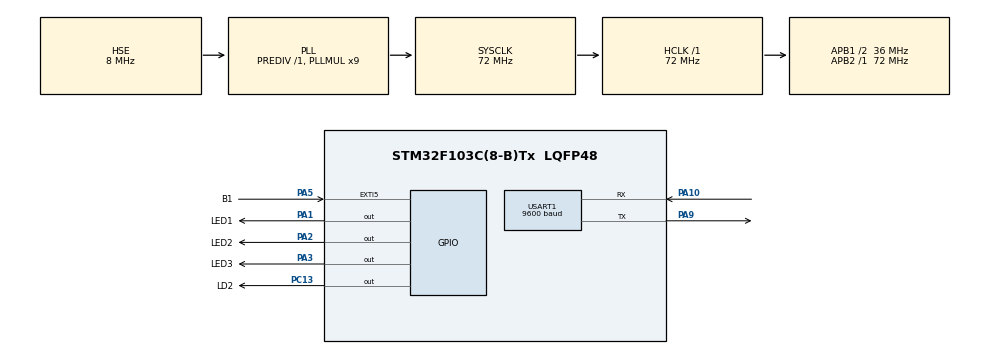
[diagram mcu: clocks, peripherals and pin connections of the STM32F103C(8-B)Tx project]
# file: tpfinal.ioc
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Mcu.Family=STM32F1
Mcu.Name=STM32F103C(8-B)Tx
Mcu.Package=LQFP48
NVIC.EXTI9_5_IRQn=true\:0\:0\:false\:false\:true\:true\:true\:true
NVIC.PriorityGroup=NVIC_PRIORITYGROUP_4
NVIC.USART1_IRQn=true\:0\:0\:false\:false\:true\:true\:true\:true
PA1.GPIO_Label=LED1
PA1.Signal=GPIO_Output
PA10.Mode=Asynchronous
PA10.Signal=USART1_RX
PA13.Mode=Serial_Wire
PA13.Signal=SYS_JTMS-SWDIO
PA14.Mode=Serial_Wire
PA14.Signal=SYS_JTCK-SWCLK
PA2.GPIO_Label=LED2
PA2.Signal=GPIO_Output
PA3.GPIO_Label=LED3
PA3.Signal=GPIO_Output
PA5.GPIO_Label=B1
PA5.GPIO_ModeDefaultEXTI=GPIO_MODE_IT_RISING_FALLING
PA5.GPIO_PuPd=GPIO_PULLUP
PA5.Signal=GPXTI5
PA9.Mode=Asynchronous
PA9.Signal=USART1_TX
PC13-TAMPER-RTC.GPIO_Label=LD2
PC13-TAMPER-RTC.PinState=GPIO_PIN_SET
PC13-TAMPER-RTC.Signal=GPIO_Output
PD0-OSC_IN.Mode=HSE-External-Oscillator
PD0-OSC_IN.Signal=RCC_OSC_IN
PD1-OSC_OUT.Mode=HSE-External-Oscillator
PD1-OSC_OUT.Signal=RCC_OSC_OUT
ProjectManager.HeapSize=0x200
ProjectManager.StackSize=0x400
ProjectManager.TargetToolchain=STM32CubeIDE
RCC.AHBFreq_Value=72000000
RCC.APB1CLKDivider=RCC_HCLK_DIV2
RCC.APB1Freq_Value=36000000
RCC.APB1TimFreq_Value=72000000
RCC.APB2Freq_Value=72000000
RCC.APB2TimFreq_Value=72000000
RCC.HCLKFreq_Value=72000000
RCC.PLLMUL=RCC_PLL_MUL9
RCC.PLLSourceVirtual=RCC_PLLSOURCE_HSE
RCC.SYSCLKFreq_VALUE=72000000
RCC.SYSCLKSource=RCC_SYSCLKSOURCE_PLLCLK
RCC.USBFreq_Value=72000000
USART1.BaudRate=9600
USART1.VirtualMode=VM_ASYNC
USART1.WordLength=WORDLENGTH_8B
board=custom

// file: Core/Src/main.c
/* USER CODE BEGIN Header */
/**
  ******************************************************************************
  * @file           : main.c
  * @brief          : Main program body
  ******************************************************************************
  * @attention
  *
  * Copyright (c) 2026 STMicroelectronics.
  * All rights reserved.
  *
  * This software is licensed under terms that can be found in the LICENSE file
  * in the root directory of this software component.
  * If no LICENSE file comes with this software, it is provided AS-IS.
  *
  ******************************************************************************
  */
/* USER CODE END Header */
#include "main.h"

/* USER CODE BEGIN Includes */
#include "administrador_leds.h"
#include "pulsador.h"
#include "control_uart.h"
/* USER CODE END Includes */

UART_HandleTypeDef huart1;

void SystemClock_Config(void);
static void MX_GPIO_Init(void);
static void MX_USART1_UART_Init(void);

int main(void)
{

  /* MCU Configuration--------------------------------------------------------*/

  /* Reset of all peripherals, Initializes the Flash interface and the Systick. */
  HAL_Init();

  /* Configure the system clock */
  SystemClock_Config();

  /* Initialize all configured peripherals */
  MX_GPIO_Init();
  MX_USART1_UART_Init();

  /* USER CODE BEGIN 2 */
  Pulsador_Init();
  /* Inicialización del administrador de LED */
  AdministradorLEDs_Init();

  ControlUART_Init();

  /* Estado inicial: todos los LED apagados */
  AdministradorLEDs_ApagarTodos();

  /* Último valor del contador transmitido */
  uint16_t contadorAnterior = 0;

  /* Valor actual del contador */
  uint16_t contadorActual = 0;

  /* USER CODE END 2 */

  /* Infinite loop */
  while (1)
  {

    /* USER CODE BEGIN 3 */
    /* Actualizar los LED */
    AdministradorLEDs_Proceso();

    /* Procesar el pulsador */
    Pulsador_Proceso();

    /* Procesar la comunicación UART */
    ControlUART_Proceso();

    /* Consultar el contador de operaciones */
    contadorActual = Pulsador_ObtenerContador();

    /* Verificar si hubo una nueva operación */
    if (contadorActual != contadorAnterior)
    {
        ControlUART_EnviarContador(contadorActual);

        contadorAnterior = contadorActual;
    }
  }
  /* USER CODE END 3 */
}

void SystemClock_Config(void)
{
  RCC_OscInitTypeDef RCC_OscInitStruct = {0};
  RCC_ClkInitTypeDef RCC_ClkInitStruct = {0};

  /** Initializes the RCC Oscillators according to the specified parameters
  * in the RCC_OscInitTypeDef structure.
  * Blue Pill: cristal externo de 8 MHz -> PLL x9 = 72 MHz
  */
  RCC_OscInitStruct.OscillatorType = RCC_OSCILLATORTYPE_HSE;
  RCC_OscInitStruct.HSEState = RCC_HSE_ON;
  RCC_OscInitStruct.HSEPredivValue = RCC_HSE_PREDIV_DIV1;
  RCC_OscInitStruct.HSIState = RCC_HSI_ON;
  RCC_OscInitStruct.PLL.PLLState = RCC_PLL_ON;
  RCC_OscInitStruct.PLL.PLLSource = RCC_PLLSOURCE_HSE;
  RCC_OscInitStruct.PLL.PLLMUL = RCC_PLL_MUL9;
  if (HAL_RCC_OscConfig(&RCC_OscInitStruct) != HAL_OK)
  {
    Error_Handler();
  }

  /** Initializes the CPU, AHB and APB buses clocks
  * HCLK = 72 MHz, APB1 = 36 MHz (maximo permitido), APB2 = 72 MHz
  */
  RCC_ClkInitStruct.ClockType = RCC_CLOCKTYPE_HCLK|RCC_CLOCKTYPE_SYSCLK
                              |RCC_CLOCKTYPE_PCLK1|RCC_CLOCKTYPE_PCLK2;
  RCC_ClkInitStruct.SYSCLKSource = RCC_SYSCLKSOURCE_PLLCLK;
  RCC_ClkInitStruct.AHBCLKDivider = RCC_SYSCLK_DIV1;
  RCC_ClkInitStruct.APB1CLKDivider = RCC_HCLK_DIV2;
  RCC_ClkInitStruct.APB2CLKDivider = RCC_HCLK_DIV1;

  /* 72 MHz exige 2 estados de espera de Flash */
  if (HAL_RCC_ClockConfig(&RCC_ClkInitStruct, FLASH_LATENCY_2) != HAL_OK)
  {
    Error_Handler();
  }
}

static void MX_USART1_UART_Init(void)
{

  huart1.Instance = USART1;
  huart1.Init.BaudRate = 9600;
  huart1.Init.WordLength = UART_WORDLENGTH_8B;
  huart1.Init.StopBits = UART_STOPBITS_1;
  huart1.Init.Parity = UART_PARITY_NONE;
  huart1.Init.Mode = UART_MODE_TX_RX;
  huart1.Init.HwFlowCtl = UART_HWCONTROL_NONE;
  huart1.Init.OverSampling = UART_OVERSAMPLING_16;
  if (HAL_UART_Init(&huart1) != HAL_OK)
  {
    Error_Handler();
  }

}

static void MX_GPIO_Init(void)
{
  GPIO_InitTypeDef GPIO_InitStruct = {0};

  /* GPIO Ports Clock Enable */
  __HAL_RCC_GPIOC_CLK_ENABLE();
  __HAL_RCC_GPIOD_CLK_ENABLE();
  __HAL_RCC_GPIOA_CLK_ENABLE();

  /*Configure GPIO pin Output Level */
  /* PC13 (LED onboard) es activo en BAJO: SET = apagado */
  HAL_GPIO_WritePin(LD2_GPIO_Port, LD2_Pin, GPIO_PIN_SET);

  /*Configure GPIO pin Output Level */
  HAL_GPIO_WritePin(GPIOA, LED1_Pin|LED2_Pin|LED3_Pin, GPIO_PIN_RESET);

  /*Configure GPIO pin : LD2_Pin */
  /* PC13 solo admite salida a 2 MHz y ~3 mA (limitacion de la familia F1) */
  GPIO_InitStruct.Pin = LD2_Pin;
  GPIO_InitStruct.Mode = GPIO_MODE_OUTPUT_PP;
  GPIO_InitStruct.Speed = GPIO_SPEED_FREQ_LOW;
  HAL_GPIO_Init(LD2_GPIO_Port, &GPIO_InitStruct);

  /*Configure GPIO pins : LED1_Pin LED2_Pin LED3_Pin */
  GPIO_InitStruct.Pin = LED1_Pin|LED2_Pin|LED3_Pin;
  GPIO_InitStruct.Mode = GPIO_MODE_OUTPUT_PP;
  GPIO_InitStruct.Speed = GPIO_SPEED_FREQ_LOW;
  HAL_GPIO_Init(GPIOA, &GPIO_InitStruct);

  /*Configure GPIO pin : B1_Pin */
  /* Pulsador a GND: pull-up interno (~40 kOhm), ambos flancos */
  GPIO_InitStruct.Pin = B1_Pin;
  GPIO_InitStruct.Mode = GPIO_MODE_IT_RISING_FALLING;
  GPIO_InitStruct.Pull = GPIO_PULLUP;
  HAL_GPIO_Init(B1_GPIO_Port, &GPIO_InitStruct);

  /* EXTI interrupt init*/
  HAL_NVIC_SetPriority(EXTI9_5_IRQn, 0, 0);
  HAL_NVIC_EnableIRQ(EXTI9_5_IRQn);

}

void Error_Handler(void)
{
  __disable_irq();
  while (1)
  {
  }
}
